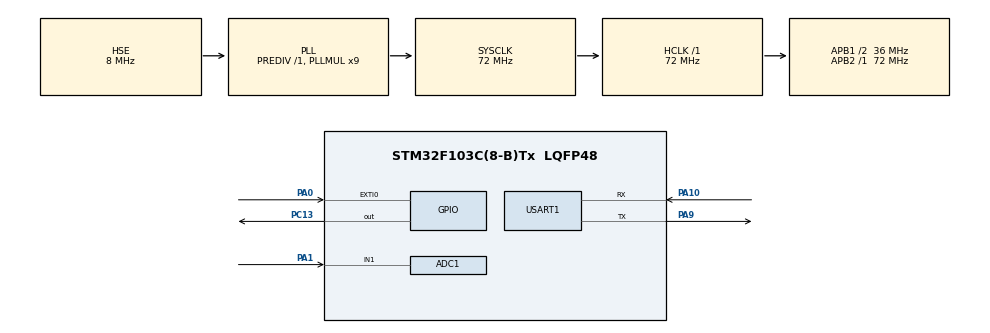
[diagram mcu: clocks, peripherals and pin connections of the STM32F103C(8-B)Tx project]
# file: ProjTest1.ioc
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ADC1.Channel-0\#ChannelRegularConversion=ADC_CHANNEL_1
ADC1.ContinuousConvMode=ENABLE
ADC1.NbrOfConversionFlag=1
ADC1.Rank-0\#ChannelRegularConversion=1
ADC1.SamplingTime-0\#ChannelRegularConversion=ADC_SAMPLETIME_13CYCLES_5
ADC1.master=1
Mcu.Family=STM32F1
Mcu.Name=STM32F103C(8-B)Tx
Mcu.Package=LQFP48
NVIC.ADC1_2_IRQn=true\:0\:0\:false\:false\:true\:true\:true
NVIC.EXTI0_IRQn=true\:0\:0\:false\:false\:true\:true\:true
NVIC.PriorityGroup=NVIC_PRIORITYGROUP_4
NVIC.RTC_Alarm_IRQn=true\:0\:0\:false\:false\:true\:true\:true
NVIC.RTC_IRQn=true\:0\:0\:false\:false\:true\:true\:true
PA0-WKUP.GPIO_PuPd=GPIO_PULLUP
PA0-WKUP.Signal=GPXTI0
PA1.Signal=ADCx_IN1
PA10.Mode=Asynchronous
PA10.Signal=USART1_RX
PA13.Mode=Serial_Wire
PA13.Signal=SYS_JTMS-SWDIO
PA14.Mode=Serial_Wire
PA14.Signal=SYS_JTCK-SWCLK
PA9.Mode=Asynchronous
PA9.Signal=USART1_TX
PC13-TAMPER-RTC.Signal=GPIO_Output
PD0-OSC_IN.Mode=HSE-External-Oscillator
PD0-OSC_IN.Signal=RCC_OSC_IN
PD1-OSC_OUT.Mode=HSE-External-Oscillator
PD1-OSC_OUT.Signal=RCC_OSC_OUT
ProjectManager.HeapSize=0x200
ProjectManager.StackSize=0x400
ProjectManager.TargetToolchain=STM32CubeIDE
RCC.ADCPresc=RCC_ADCPCLK2_DIV6
RCC.AHBFreq_Value=72000000
RCC.APB1CLKDivider=RCC_HCLK_DIV2
RCC.APB1Freq_Value=36000000
RCC.APB1TimFreq_Value=72000000
RCC.APB2Freq_Value=72000000
RCC.APB2TimFreq_Value=72000000
RCC.HCLKFreq_Value=72000000
RCC.PLLMUL=RCC_PLL_MUL9
RCC.PLLSourceVirtual=RCC_PLLSOURCE_HSE
RCC.SYSCLKFreq_VALUE=72000000
RCC.SYSCLKSource=RCC_SYSCLKSOURCE_PLLCLK
RCC.USBFreq_Value=72000000
RTC.Date=3
RTC.Format=RTC_FORMAT_BIN
RTC.Hours=0
RTC.Month=RTC_MONTH_SEPTEMBER
RTC.WeekDay=RTC_WEEKDAY_THURSDAY
RTC.Year=20
SH.ADCx_IN1.0=ADC1_IN1,IN1
USART1.VirtualMode=VM_ASYNC
VP_RTC_VS_RTC_Activate.Mode=RTC_Enabled
VP_RTC_VS_RTC_Calendar.Mode=RTC_Calendar
board=custom

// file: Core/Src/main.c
/* USER CODE BEGIN Header */
/**
  ******************************************************************************
  * @file           : main.c
  * @brief          : Main program body
  ******************************************************************************
  * @attention
  *
  * <h2><center>&copy; Copyright (c) 2020 STMicroelectronics.
  * All rights reserved.</center></h2>
  *
  * This software component is licensed by ST under BSD 3-Clause license,
  * the "License"; You may not use this file except in compliance with the
  * License. You may obtain a copy of the License at:
  *                        opensource.org/licenses/BSD-3-Clause
  *
  ******************************************************************************
  */
/* USER CODE END Header */
#include "main.h"

ADC_HandleTypeDef hadc1;

RTC_HandleTypeDef hrtc;

UART_HandleTypeDef huart1;

/* USER CODE BEGIN PV */
uint8_t hrs;
uint8_t min;
uint8_t sec;

uint8_t alarm =0;

uint32_t adc_val;
uint8_t gcount = 0;

/* USER CODE END PV */

void SystemClock_Config(void);
static void MX_GPIO_Init(void);
static void MX_RTC_Init(void);
static void MX_USART1_UART_Init(void);
static void MX_ADC1_Init(void);

/* USER CODE BEGIN 0 */

void setAlarm(void)  //set alarm to make the controller to go into low power mode
{
	RTC_AlarmTypeDef sAlarm;

	sAlarm.AlarmTime.Hours = 0b0000;
	sAlarm.AlarmTime.Minutes = 0b0000;
	sAlarm.AlarmTime.Seconds = 0b00111100;
	sAlarm.Alarm = RTC_ALARM_A;

	  if (HAL_RTC_SetAlarm_IT(&hrtc, &sAlarm, RTC_FORMAT_BIN) != HAL_OK)
	  {
		 Error_Handler();
	   // _Error_Handler(__FILE__, __LINE__);
	  }
}

void setWakeAlarm(void)   //set alarm to wake up the controller from low power mode
{
	RTC_AlarmTypeDef sAlarm;

	sAlarm.AlarmTime.Hours = 0b0000;
	sAlarm.AlarmTime.Minutes = 0b00000000;
	sAlarm.AlarmTime.Seconds = 0b00010100;
	sAlarm.Alarm = RTC_ALARM_A;

	  if (HAL_RTC_SetAlarm_IT(&hrtc, &sAlarm, RTC_FORMAT_BIN) != HAL_OK)
	  {
		 Error_Handler();
	   // _Error_Handler(__FILE__, __LINE__);
	  }
}

void setTime(void)   //Reset the Time to 00:00:00 for timer functionality
{
	RTC_TimeTypeDef sTime;

	sTime.Hours = 0b0000;
	sTime.Minutes = 0b0000;
	sTime.Seconds = 0b0000;

	  if (HAL_RTC_SetTime(&hrtc, &sTime, RTC_FORMAT_BCD) != HAL_OK)
	  {
		  Error_Handler();
	  }
	}

void HAL_ADC_ConvCpltCallback(ADC_HandleTypeDef* hadc) //This routine is called when ADC interrupt occurs
{
 for(int i = 0; i < 6; i++)
 {
  adc_val = HAL_ADC_GetValue(&hadc1);
  HAL_ADC_Stop_IT(&hadc1);
 }
}

void HAL_RTC_AlarmAEventCallback(RTC_HandleTypeDef *hrtc)   //This routine is called when alarm interrupt occurs
{
	alarm = 1; //make alarm variable high to indicate alarm interrupt occurs
}

void to_do_on_alarm (void)
{
	setTime();  //Reset the timer (time)
 	setWakeAlarm(); //Timer(alarm) to wake up from low power mode

 	//To Enter Stop Mode
//	HAL_SuspendTick();
//	HAL_PWR_EnterSTOPMode(PWR_LOWPOWERREGULATOR_ON, PWR_STOPENTRY_WFI);

 	//To Enter Stand by mode
 	HAL_GPIO_WritePin(GPIOC, GPIO_PIN_13, 1);
 	__HAL_PWR_CLEAR_FLAG(PWR_FLAG_WU);
 	HAL_PWR_EnterSTANDBYMode();

}

void HAL_GPIO_EXTI_Callback(uint16_t GPIO_Pin)
{
  if(GPIO_Pin == GPIO_PIN_0)
  {
	  SystemClock_Config ();
	  HAL_ResumeTick();
	  gcount++;
  }
}
/* USER CODE END 0 */

int main(void)
{

  /* MCU Configuration--------------------------------------------------------*/

  /* Reset of all peripherals, Initializes the Flash interface and the Systick. */
  HAL_Init();

  /* Configure the system clock */
  SystemClock_Config();

  /* USER CODE BEGIN SysInit */
  RTC_TimeTypeDef sTime;

  /* USER CODE END SysInit */

  /* Initialize all configured peripherals */
  MX_GPIO_Init();
  MX_RTC_Init();
  MX_USART1_UART_Init();
  MX_ADC1_Init();
  /* USER CODE BEGIN 2 */

  setAlarm();  //Start Trimer to send it to sleep.

  /* USER CODE END 2 */

  /* Infinite loop */
  while (1)
  {
     HAL_GPIO_TogglePin(GPIOC, GPIO_PIN_13);  //Toggle to indicate wakeup
    /* USER CODE BEGIN 3 */
	  HAL_RTC_GetTime(&hrtc, &sTime, RTC_FORMAT_BIN);  //To see the timing for debug
	  hrs = sTime.Hours;
	  min = sTime.Minutes;
	  sec = sTime.Seconds;

	  HAL_ADCEx_Calibration_Start(&hadc1);  //Calibrate ADC before start
	  HAL_ADC_Start_IT(&hadc1);  //Start Adc in Interrupt Mode

	  if (alarm)   //Keep watch on alarm timer interrupt
	  {
		  to_do_on_alarm();  //function to execute when alarm interrupt goes high
		  alarm =0;          //reset the alarm variable
		  setTime(); // Reset the Timer
		  setAlarm(); //To again in loop send in back to low power mode.
	  }

  }
  /* USER CODE END 3 */
}

void SystemClock_Config(void)
{
  RCC_OscInitTypeDef RCC_OscInitStruct = {0};
  RCC_ClkInitTypeDef RCC_ClkInitStruct = {0};
  RCC_PeriphCLKInitTypeDef PeriphClkInit = {0};

  /** Initializes the RCC Oscillators according to the specified parameters
  * in the RCC_OscInitTypeDef structure.
  */
  RCC_OscInitStruct.OscillatorType = RCC_OSCILLATORTYPE_LSI|RCC_OSCILLATORTYPE_HSE;
  RCC_OscInitStruct.HSEState = RCC_HSE_ON;
  RCC_OscInitStruct.HSEPredivValue = RCC_HSE_PREDIV_DIV1;
  RCC_OscInitStruct.HSIState = RCC_HSI_ON;
  RCC_OscInitStruct.LSIState = RCC_LSI_ON;
  RCC_OscInitStruct.PLL.PLLState = RCC_PLL_ON;
  RCC_OscInitStruct.PLL.PLLSource = RCC_PLLSOURCE_HSE;
  RCC_OscInitStruct.PLL.PLLMUL = RCC_PLL_MUL9;
  if (HAL_RCC_OscConfig(&RCC_OscInitStruct) != HAL_OK)
  {
    Error_Handler();
  }
  /** Initializes the CPU, AHB and APB buses clocks
  */
  RCC_ClkInitStruct.ClockType = RCC_CLOCKTYPE_HCLK|RCC_CLOCKTYPE_SYSCLK
                              |RCC_CLOCKTYPE_PCLK1|RCC_CLOCKTYPE_PCLK2;
  RCC_ClkInitStruct.SYSCLKSource = RCC_SYSCLKSOURCE_PLLCLK;
  RCC_ClkInitStruct.AHBCLKDivider = RCC_SYSCLK_DIV1;
  RCC_ClkInitStruct.APB1CLKDivider = RCC_HCLK_DIV2;
  RCC_ClkInitStruct.APB2CLKDivider = RCC_HCLK_DIV1;

  if (HAL_RCC_ClockConfig(&RCC_ClkInitStruct, FLASH_LATENCY_2) != HAL_OK)
  {
    Error_Handler();
  }
  PeriphClkInit.PeriphClockSelection = RCC_PERIPHCLK_RTC|RCC_PERIPHCLK_ADC;
  PeriphClkInit.RTCClockSelection = RCC_RTCCLKSOURCE_LSI;
  PeriphClkInit.AdcClockSelection = RCC_ADCPCLK2_DIV6;
  if (HAL_RCCEx_PeriphCLKConfig(&PeriphClkInit) != HAL_OK)
  {
    Error_Handler();
  }
}

static void MX_ADC1_Init(void)
{

  ADC_ChannelConfTypeDef sConfig = {0};

  /** Common config
  */
  hadc1.Instance = ADC1;
  hadc1.Init.ScanConvMode = ADC_SCAN_DISABLE;
  hadc1.Init.ContinuousConvMode = ENABLE;
  hadc1.Init.DiscontinuousConvMode = DISABLE;
  hadc1.Init.ExternalTrigConv = ADC_SOFTWARE_START;
  hadc1.Init.DataAlign = ADC_DATAALIGN_RIGHT;
  hadc1.Init.NbrOfConversion = 1;
  if (HAL_ADC_Init(&hadc1) != HAL_OK)
  {
    Error_Handler();
  }
  /** Configure Regular Channel
  */
  sConfig.Channel = ADC_CHANNEL_1;
  sConfig.Rank = ADC_REGULAR_RANK_1;
  sConfig.SamplingTime = ADC_SAMPLETIME_13CYCLES_5;
  if (HAL_ADC_ConfigChannel(&hadc1, &sConfig) != HAL_OK)
  {
    Error_Handler();
  }

}

static void MX_RTC_Init(void)
{

  RTC_TimeTypeDef sTime = {0};
  RTC_DateTypeDef DateToUpdate = {0};

  /** Initialize RTC Only
  */
  hrtc.Instance = RTC;
  hrtc.Init.AsynchPrediv = RTC_AUTO_1_SECOND;
  hrtc.Init.OutPut = RTC_OUTPUTSOURCE_ALARM;
  if (HAL_RTC_Init(&hrtc) != HAL_OK)
  {
    Error_Handler();
  }

  /** Initialize RTC and set the Time and Date
  */
  sTime.Hours = 0;
  sTime.Minutes = 0;
  sTime.Seconds = 0;

  if (HAL_RTC_SetTime(&hrtc, &sTime, RTC_FORMAT_BIN) != HAL_OK)
  {
    Error_Handler();
  }
  DateToUpdate.WeekDay = RTC_WEEKDAY_THURSDAY;
  DateToUpdate.Month = RTC_MONTH_SEPTEMBER;
  DateToUpdate.Date = 3;
  DateToUpdate.Year = 20;

  if (HAL_RTC_SetDate(&hrtc, &DateToUpdate, RTC_FORMAT_BIN) != HAL_OK)
  {
    Error_Handler();
  }

}

static void MX_USART1_UART_Init(void)
{

  huart1.Instance = USART1;
  huart1.Init.BaudRate = 115200;
  huart1.Init.WordLength = UART_WORDLENGTH_8B;
  huart1.Init.StopBits = UART_STOPBITS_1;
  huart1.Init.Parity = UART_PARITY_NONE;
  huart1.Init.Mode = UART_MODE_TX_RX;
  huart1.Init.HwFlowCtl = UART_HWCONTROL_NONE;
  huart1.Init.OverSampling = UART_OVERSAMPLING_16;
  if (HAL_UART_Init(&huart1) != HAL_OK)
  {
    Error_Handler();
  }

}

static void MX_GPIO_Init(void)
{
  GPIO_InitTypeDef GPIO_InitStruct = {0};

  /* GPIO Ports Clock Enable */
  __HAL_RCC_GPIOC_CLK_ENABLE();
  __HAL_RCC_GPIOD_CLK_ENABLE();
  __HAL_RCC_GPIOA_CLK_ENABLE();

  /*Configure GPIO pin Output Level */
  HAL_GPIO_WritePin(GPIOC, GPIO_PIN_13, GPIO_PIN_RESET);

  /*Configure GPIO pin : PC13 */
  GPIO_InitStruct.Pin = GPIO_PIN_13;
  GPIO_InitStruct.Mode = GPIO_MODE_OUTPUT_PP;
  GPIO_InitStruct.Pull = GPIO_NOPULL;
  GPIO_InitStruct.Speed = GPIO_SPEED_FREQ_LOW;
  HAL_GPIO_Init(GPIOC, &GPIO_InitStruct);

  /*Configure GPIO pin : PA0 */
  GPIO_InitStruct.Pin = GPIO_PIN_0;
  GPIO_InitStruct.Mode = GPIO_MODE_IT_RISING;
  GPIO_InitStruct.Pull = GPIO_PULLUP;
  HAL_GPIO_Init(GPIOA, &GPIO_InitStruct);

  /* EXTI interrupt init*/
  HAL_NVIC_SetPriority(EXTI0_IRQn, 0, 0);
  HAL_NVIC_EnableIRQ(EXTI0_IRQn);

}

void Error_Handler(void)
{
}

/************************ (C) COPYRIGHT STMicroelectronics *****END OF FILE****/
